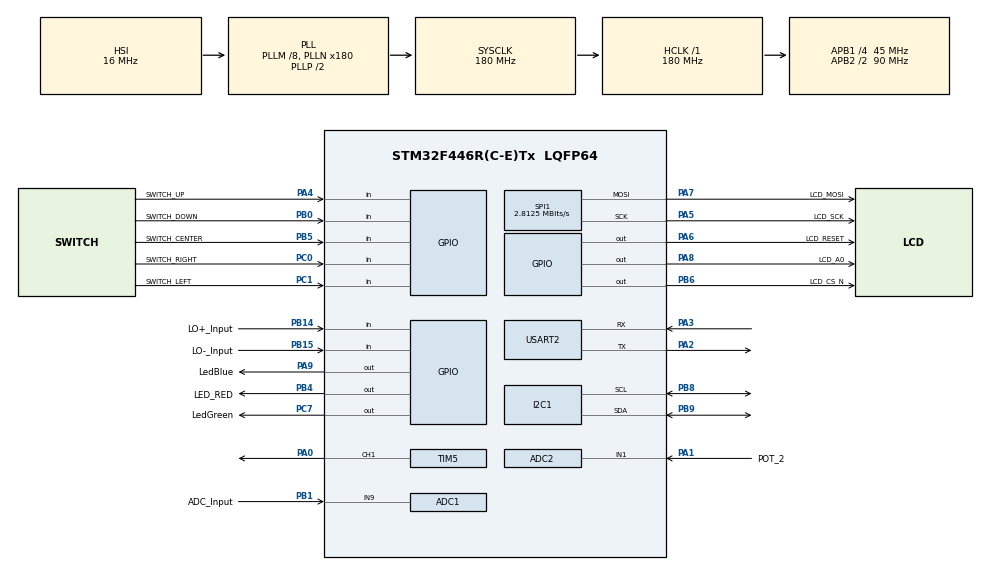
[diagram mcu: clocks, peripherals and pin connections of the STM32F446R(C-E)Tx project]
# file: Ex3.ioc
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ADC1.Channel-2\#ChannelRegularConversion=ADC_CHANNEL_9
ADC1.NbrOfConversionFlag=1
ADC1.Rank-2\#ChannelRegularConversion=1
ADC1.SamplingTime-2\#ChannelRegularConversion=ADC_SAMPLETIME_3CYCLES
ADC1.master=1
ADC2.Channel-0\#ChannelRegularConversion=ADC_CHANNEL_1
ADC2.ClockPrescaler=ADC_CLOCK_SYNC_PCLK_DIV4
ADC2.ContinuousConvMode=ENABLE
ADC2.DMAContinuousRequests=DISABLE
ADC2.DataAlign=ADC_DATAALIGN_RIGHT
ADC2.DiscontinuousConvMode=DISABLE
ADC2.EOCSelection=ADC_EOC_SEQ_CONV
ADC2.EnableAnalogWatchDog=false
ADC2.ExternalTrigConv=ADC_SOFTWARE_START
ADC2.ExternalTrigConvEdge=ADC_EXTERNALTRIGCONVEDGE_NONE
ADC2.InjNumberOfConversion=0
ADC2.NbrOfConversion=1
ADC2.NbrOfConversionFlag=1
ADC2.Rank-0\#ChannelRegularConversion=1
ADC2.Resolution=ADC_RESOLUTION_12B
ADC2.SamplingTime-0\#ChannelRegularConversion=ADC_SAMPLETIME_3CYCLES
ADC2.ScanConvMode=DISABLE
Dma.Request0=USART2_TX
Dma.Request1=USART2_RX
Dma.USART2_RX.1.Direction=DMA_PERIPH_TO_MEMORY
Dma.USART2_RX.1.FIFOMode=DMA_FIFOMODE_DISABLE
Dma.USART2_RX.1.Instance=DMA1_Stream5
Dma.USART2_RX.1.MemDataAlignment=DMA_MDATAALIGN_BYTE
Dma.USART2_RX.1.MemInc=DMA_MINC_ENABLE
Dma.USART2_RX.1.Mode=DMA_CIRCULAR
Dma.USART2_RX.1.PeriphDataAlignment=DMA_PDATAALIGN_BYTE
Dma.USART2_RX.1.PeriphInc=DMA_PINC_DISABLE
Dma.USART2_RX.1.Priority=DMA_PRIORITY_MEDIUM
Dma.USART2_TX.0.Direction=DMA_MEMORY_TO_PERIPH
Dma.USART2_TX.0.FIFOMode=DMA_FIFOMODE_DISABLE
Dma.USART2_TX.0.Instance=DMA1_Stream6
Dma.USART2_TX.0.MemDataAlignment=DMA_MDATAALIGN_BYTE
Dma.USART2_TX.0.MemInc=DMA_MINC_ENABLE
Dma.USART2_TX.0.Mode=DMA_NORMAL
Dma.USART2_TX.0.PeriphDataAlignment=DMA_PDATAALIGN_BYTE
Dma.USART2_TX.0.PeriphInc=DMA_PINC_DISABLE
Dma.USART2_TX.0.Priority=DMA_PRIORITY_MEDIUM
Mcu.Family=STM32F4
Mcu.Name=STM32F446R(C-E)Tx
Mcu.Package=LQFP64
NVIC.ADC_IRQn=true\:1\:0\:true\:false\:true\:true
NVIC.DMA1_Stream5_IRQn=true\:0\:0\:false\:false\:true\:false
NVIC.DMA1_Stream6_IRQn=true\:0\:0\:false\:false\:true\:false
NVIC.PriorityGroup=NVIC_PRIORITYGROUP_4
NVIC.TIM3_IRQn=true\:1\:0\:true\:false\:true\:true
NVIC.TIM5_IRQn=true\:1\:0\:true\:false\:true\:true
NVIC.USART2_IRQn=true\:2\:0\:true\:false\:true\:true
PA0-WKUP.Signal=S_TIM5_CH1
PA1.GPIO_Label=POT_2
PA1.Signal=ADCx_IN1
PA13.Mode=Serial_Wire
PA13.Signal=SYS_JTMS-SWDIO
PA14.Mode=Serial_Wire
PA14.Signal=SYS_JTCK-SWCLK
PA2.Mode=Asynchronous
PA2.Signal=USART2_TX
PA3.Mode=Asynchronous
PA3.Signal=USART2_RX
PA4.GPIO_Label=SWITCH_UP
PA4.Signal=GPIO_Input
PA5.GPIO_Label=LCD_SCK
PA5.Mode=TX_Only_Simplex_Unidirect_Master
PA5.Signal=SPI1_SCK
PA6.GPIO_Label=LCD_RESET
PA6.Signal=GPIO_Output
PA7.GPIO_Label=LCD_MOSI
PA7.Mode=TX_Only_Simplex_Unidirect_Master
PA7.Signal=SPI1_MOSI
PA8.GPIO_Label=LCD_A0
PA8.Signal=GPIO_Output
PA9.GPIO_Label=LedBlue
PA9.GPIO_Speed=GPIO_SPEED_FREQ_HIGH
PA9.PinState=GPIO_PIN_RESET
PA9.Signal=GPIO_Output
PB0.GPIO_Label=SWITCH_DOWN
PB0.Signal=GPIO_Input
PB1.GPIO_Label=ADC_Input
PB1.Signal=ADCx_IN9
PB14.GPIO_Label=LO+_Input
PB14.Signal=GPIO_Input
PB15.GPIO_Label=LO-_Input
PB15.Signal=GPIO_Input
PB4.GPIO_Label=LED_RED
PB4.Signal=GPIO_Output
PB5.GPIO_Label=SWITCH_CENTER
PB5.Signal=GPIO_Input
PB6.GPIO_Label=LCD_CS_N
PB6.Signal=GPIO_Output
PB8.Mode=I2C
PB8.Signal=I2C1_SCL
PB9.Mode=I2C
PB9.Signal=I2C1_SDA
PC0.GPIO_Label=SWITCH_RIGHT
PC0.Signal=GPIO_Input
PC1.GPIO_Label=SWITCH_LEFT
PC1.Signal=GPIO_Input
PC7.GPIO_Label=LedGreen
PC7.Signal=GPIO_Output
PH0-OSC_IN.Mode=HSE-External-Oscillator
PH0-OSC_IN.Signal=RCC_OSC_IN
PH1-OSC_OUT.Mode=HSE-External-Oscillator
PH1-OSC_OUT.Signal=RCC_OSC_OUT
ProjectManager.HeapSize=0x200
ProjectManager.StackSize=0x400
ProjectManager.TargetToolchain=MDK-ARM V5
RCC.AHBFreq_Value=180000000
RCC.APB1CLKDivider=RCC_HCLK_DIV4
RCC.APB1Freq_Value=45000000
RCC.APB1TimFreq_Value=90000000
RCC.APB2CLKDivider=RCC_HCLK_DIV2
RCC.APB2Freq_Value=90000000
RCC.APB2TimFreq_Value=180000000
RCC.CortexFreq_Value=180000000
RCC.HCLKFreq_Value=180000000
RCC.PLLM=8
RCC.PLLN=180
RCC.SYSCLKFreq_VALUE=180000000
RCC.SYSCLKSource=RCC_SYSCLKSOURCE_PLLCLK
RCC.USBFreq_Value=180000000
RCC.VCOOutputFreq_Value=360000000
SH.ADCx_IN1.0=ADC2_IN1,IN1
SH.ADCx_IN9.0=ADC1_IN9,IN9
SH.S_TIM5_CH1.0=TIM5_CH1,Output Compare1 CH1
SPI1.BaudRatePrescaler=SPI_BAUDRATEPRESCALER_32
SPI1.CalculateBaudRate=2.8125 MBits/s
SPI1.Direction=SPI_DIRECTION_2LINES
SPI1.Mode=SPI_MODE_MASTER
SPI1.VirtualType=VM_MASTER
TIM3.Period=100-1
TIM3.Prescaler=9000-1
TIM5.Channel-Output\ Compare1\ CH1=TIM_CHANNEL_1
TIM5.Period=100
TIM5.Prescaler=4500-1
USART2.VirtualMode=VM_ASYNC
VP_TIM3_VS_ClockSourceINT.Mode=Internal
VP_TIM5_VS_ClockSourceINT.Mode=Internal
board=custom

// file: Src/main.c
/**
  ******************************************************************************
  * @file           : main.c
  * @brief          : Menu gives us two option.
	* @brief					: Option LEd Control :
	* @brief   				: The User can send a message to turn on or off a led via USB
	* @brief   				: The messages should start with ? end and with !
	* @brief   				: The option of led are Red(red) Gre(Green) Blu(Blue).
	* @brief   				: To turn off 0 to turn on 1.
	* @brief   				: Exemple of message : ?Blu1! turn on the led blue
	* @brief   				: the option of led are Red(red) Gre(Green) Blu(Blue).

  ******************************************************************************
  ** This notice applies to any and all portions of this file
  * that are not between comment pairs USER CODE BEGIN and
  * USER CODE END. Other portions of this file, whether
  * inserted by the user or by software development tools
  * are owned by their respective copyright owners.
  *
  * COPYRIGHT(c) 2018 STMicroelectronics
  *
  * Redistribution and use in source and binary forms, with or without modification,
  * are permitted provided that the following conditions are met:
  *   1. Redistributions of source code must retain the above copyright notice,
  *      this list of conditions and the following disclaimer.
  *   2. Redistributions in binary form must reproduce the above copyright notice,
  *      this list of conditions and the following disclaimer in the documentation
  *      and/or other materials provided with the distribution.
  *   3. Neither the name of STMicroelectronics nor the names of its contributors
  *      may be used to endorse or promote products derived from this software
  *      without specific prior written permission.
  *
  * THIS SOFTWARE IS PROVIDED BY THE COPYRIGHT HOLDERS AND CONTRIBUTORS "AS IS"
  * AND ANY EXPRESS OR IMPLIED WARRANTIES, INCLUDING, BUT NOT LIMITED TO, THE
  * IMPLIED WARRANTIES OF MERCHANTABILITY AND FITNESS FOR A PARTICULAR PURPOSE ARE
  * DISCLAIMED. IN NO EVENT SHALL THE COPYRIGHT HOLDER OR CONTRIBUTORS BE LIABLE
  * FOR ANY DIRECT, INDIRECT, INCIDENTAL, SPECIAL, EXEMPLARY, OR CONSEQUENTIAL
  * DAMAGES (INCLUDING, BUT NOT LIMITED TO, PROCUREMENT OF SUBSTITUTE GOODS OR
  * SERVICES; LOSS OF USE, DATA, OR PROFITS; OR BUSINESS INTERRUPTION) HOWEVER
  * CAUSED AND ON ANY THEORY OF LIABILITY, WHETHER IN CONTRACT, STRICT LIABILITY,
  * OR TORT (INCLUDING NEGLIGENCE OR OTHERWISE) ARISING IN ANY WAY OUT OF THE USE
  * OF THIS SOFTWARE, EVEN IF ADVISED OF THE POSSIBILITY OF SUCH DAMAGE.
  *
  ******************************************************************************
  */
#include "main.h"
#include "stm32f4xx_hal.h"
#include "adc.h"
#include "dma.h"
#include "i2c.h"
#include "spi.h"
#include "tim.h"
#include "usart.h"
#include "gpio.h"

/* USER CODE BEGIN Includes */
#include "joystick.h"
#include "lcd_menu.h"
#include "lcd_menu_definition.h"
#include "stdio.h"
#include "string.h"
#include "stdbool.h"
#include "lcd_driver.h"
#include "interface_USART_pincinato.h"
/* USER CODE END Includes */

/* USER CODE BEGIN PV */

//TEST
typedef struct MainProcessData_{

	bool LedRed;
	bool LedGreen;
	bool LedBlue;

} MainProcessData;

typedef struct AppData_{
	MainProcessData current;
	MainProcessData previous;
} AppData;

volatile uint32_t msMenuTicks=0;
static AppData myData;
static int MainEvent;
//

/* Private variables ---------------------------------------------------------*/
//#define POT_1_HANDLE hadc1
#define POT_2_HANDLE hadc2

void drawMenuItem_Callback2(int event, void* data);
void handleEvent(int event, AppData *data);
void updateData(AppData *data);
/* USER CODE END PV */

void SystemClock_Config(void);

/* USER CODE BEGIN PFP */
/* Private function prototypes -----------------------------------------------*/
void ClearString(void);
/* USER CODE END PFP */

int main(void)
{

  /* MCU Configuration----------------------------------------------------------*/

  /* Reset of all peripherals, Initializes the Flash interface and the Systick. */
  HAL_Init();

  /* Configure the system clock */
  SystemClock_Config();

  /* Initialize all configured peripherals */
  MX_GPIO_Init();
  MX_DMA_Init();
  MX_SPI1_Init();
  MX_USART2_UART_Init();
  MX_ADC2_Init();
  MX_TIM3_Init();
  MX_TIM5_Init();
  MX_I2C1_Init();
  MX_ADC1_Init();

  /* Infinite loop */
  /* USER CODE BEGIN WHILE */
	HAL_GPIO_WritePin(LedBlue_GPIO_Port,LedBlue_Pin,GPIO_PIN_SET);
	HAL_GPIO_WritePin(LedGreen_GPIO_Port,LedGreen_Pin,GPIO_PIN_SET);
	HAL_GPIO_WritePin(LED_RED_GPIO_Port,LED_RED_Pin,GPIO_PIN_SET);

	initInterface(&huart2);
	lcd_init();

	//startECGInterface();

	//startACCELInterface();
	lcd_clear();
	lcd_setString(2,10," Start ",LCD_FONT_8,false);
	lcd_show();
	HAL_Delay(100);
	lcd_clear();
	//TEST
	menu_setMainMenu(&mainMenu);
	Joystick joystick;
  Joystick_init(&joystick);
  menu_navigation nextNavigation = MENU_NOP;
	menu_event event = MENU_NO_EVENT;
	menu_registerDrawMenuItem2(drawMenuItem_Callback2, (void *) &myData);
	//
  while (1)
  {
  /* USER CODE END WHILE */

  /* USER CODE BEGIN 3 */

		joystick.sample(&joystick);
		updateData(&myData);
		if (msMenuTicks >= 100) {  // LCD display ok with 50ms, otherwise stray characters
			msMenuTicks = 0;
      nextNavigation = (menu_navigation) joystick.getDirection(&joystick);
      event = menu_update(nextNavigation);
      menu_show();
			handleEvent((int) event, &myData);
		}
	}
  /* USER CODE END 3 */

}

void SystemClock_Config(void)
{

  RCC_OscInitTypeDef RCC_OscInitStruct;
  RCC_ClkInitTypeDef RCC_ClkInitStruct;

    /**Configure the main internal regulator output voltage
    */
  __HAL_RCC_PWR_CLK_ENABLE();

  __HAL_PWR_VOLTAGESCALING_CONFIG(PWR_REGULATOR_VOLTAGE_SCALE1);

    /**Initializes the CPU, AHB and APB busses clocks
    */
  RCC_OscInitStruct.OscillatorType = RCC_OSCILLATORTYPE_HSI;
  RCC_OscInitStruct.HSIState = RCC_HSI_ON;
  RCC_OscInitStruct.HSICalibrationValue = 16;
  RCC_OscInitStruct.PLL.PLLState = RCC_PLL_ON;
  RCC_OscInitStruct.PLL.PLLSource = RCC_PLLSOURCE_HSI;
  RCC_OscInitStruct.PLL.PLLM = 8;
  RCC_OscInitStruct.PLL.PLLN = 180;
  RCC_OscInitStruct.PLL.PLLP = RCC_PLLP_DIV2;
  RCC_OscInitStruct.PLL.PLLQ = 2;
  RCC_OscInitStruct.PLL.PLLR = 2;
  if (HAL_RCC_OscConfig(&RCC_OscInitStruct) != HAL_OK)
  {
    _Error_Handler(__FILE__, __LINE__);
  }

    /**Activate the Over-Drive mode
    */
  if (HAL_PWREx_EnableOverDrive() != HAL_OK)
  {
    _Error_Handler(__FILE__, __LINE__);
  }

    /**Initializes the CPU, AHB and APB busses clocks
    */
  RCC_ClkInitStruct.ClockType = RCC_CLOCKTYPE_HCLK|RCC_CLOCKTYPE_SYSCLK
                              |RCC_CLOCKTYPE_PCLK1|RCC_CLOCKTYPE_PCLK2;
  RCC_ClkInitStruct.SYSCLKSource = RCC_SYSCLKSOURCE_PLLCLK;
  RCC_ClkInitStruct.AHBCLKDivider = RCC_SYSCLK_DIV1;
  RCC_ClkInitStruct.APB1CLKDivider = RCC_HCLK_DIV4;
  RCC_ClkInitStruct.APB2CLKDivider = RCC_HCLK_DIV2;

  if (HAL_RCC_ClockConfig(&RCC_ClkInitStruct, FLASH_LATENCY_5) != HAL_OK)
  {
    _Error_Handler(__FILE__, __LINE__);
  }

    /**Configure the Systick interrupt time
    */
  HAL_SYSTICK_Config(HAL_RCC_GetHCLKFreq()/1000);

    /**Configure the Systick
    */
  HAL_SYSTICK_CLKSourceConfig(SYSTICK_CLKSOURCE_HCLK);

  /* SysTick_IRQn interrupt configuration */
  HAL_NVIC_SetPriority(SysTick_IRQn, 0, 0);
}

/* USER CODE BEGIN 4 */

void drawMenuItem_Callback2(int event, void* data){

	char bufRed[20]="";
	char bufBlue[20]="";
	char bufGreen[20]="";
	MainEvent=event;
  AppData* ad = data; //!< Convert to our application data structure
	if(event==2){
		sprintf(bufRed,"LedRED:%d",ad->current.LedRed);
		sprintf(bufBlue,"LedBLUE:%d",ad->current.LedBlue);
		sprintf(bufGreen,"LedGREEN%d",ad->current.LedGreen);
		lcd_setString(2,10,(const char*) &bufRed,LCD_FONT_8,false);
		lcd_setString(2,18,(const char*) &bufBlue,LCD_FONT_8,false);
		lcd_setString(55,10,(const char*) &bufGreen,LCD_FONT_8,false);
	}
}

/**
* @param event The menu event to be handled
* @param *data Pointer to the application data
*/
void handleEvent(int event, AppData *data) {
}

/**
* Updates all data
* @param data Pointer to application data
*/
void updateData(AppData *data) {

	  // Keep all data of last process image
	data->previous = data->current;

	switch (MainEvent) {
		case 1: check_RX();
			break;
		case 2:  data->current.LedBlue= !HAL_GPIO_ReadPin(LedBlue_GPIO_Port,LedBlue_Pin);
						 data->current.LedGreen=!HAL_GPIO_ReadPin(LedGreen_GPIO_Port,LedGreen_Pin);
						 data->current.LedRed=!HAL_GPIO_ReadPin(LED_RED_GPIO_Port,LED_RED_Pin);
			break;
		default:
			break;
		}

}

void HAL_SYSTICK_Callback(void) {
	msMenuTicks++;
}
/* USER CODE END 4 */

void _Error_Handler(char *file, int line)
{
  while(1)
  {
  }
}

/************************ (C) COPYRIGHT STMicroelectronics *****END OF FILE****/
